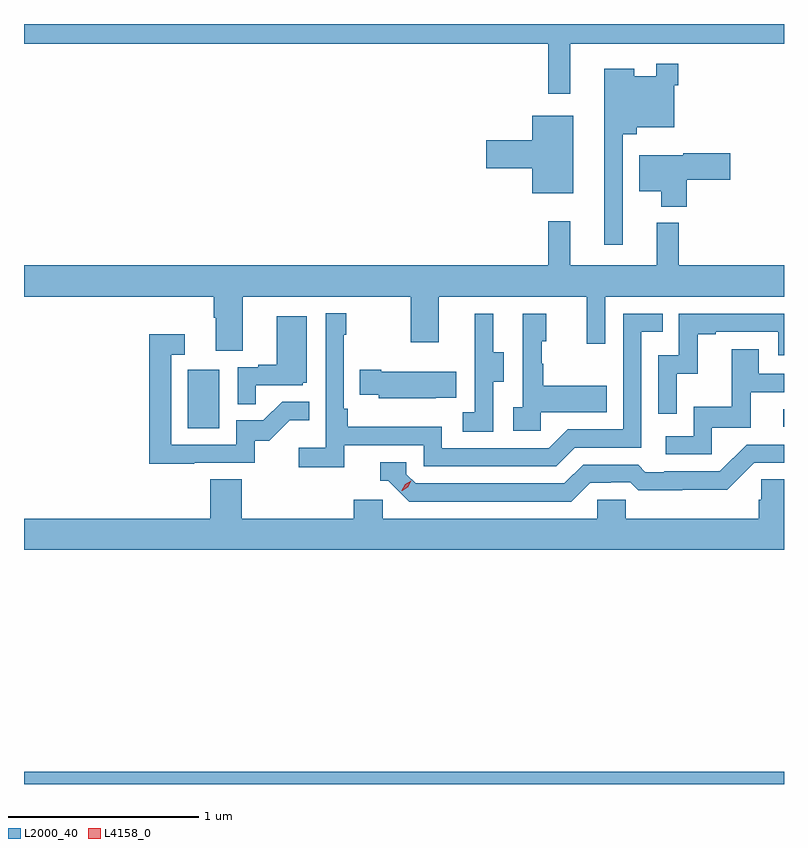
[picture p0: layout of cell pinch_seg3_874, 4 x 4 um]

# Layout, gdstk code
import gdstk
lib = gdstk.Library(unit=1e-6, precision=1e-09)
def R(c, l, rs):  # rectangles x0, y0, x1, y1
    for r in rs: c.add(gdstk.rectangle(r[:2], r[2:], *l))
def P(c, l, *ps):  # polygons
    for p in ps: c.add(gdstk.Polygon(p, *l))
L2000_40 = (2000, 40)
L4158_0 = (4158, 0)

pinch_seg3_874 = lib.new_cell('pinch_seg3_874')
R(pinch_seg3_874, L2000_40, [(874.635,705.011,878.635,705.076), (875.498,706.884,875.662,707.191), (878.631,706.89,878.635,706.983)])
P(pinch_seg3_874, L2000_40, [(877.51,708.908),(878.635,708.908),(878.635,709.011),(874.635,709.011),(874.635,708.908),(877.393,708.908),(877.393,708.645),(877.51,708.645)],
  [(877.785,708.431),(877.859,708.431),(877.859,708.467),(878.058,708.467),(878.058,708.689),(878.078,708.689),(878.078,708.802),(877.962,708.802),(877.962,708.736),(877.846,708.736),(877.846,708.775),(877.688,708.775),(877.688,707.85),(877.785,707.85)],
  [(877.525,708.529),(877.31,708.529),(877.31,708.398),(877.068,708.398),(877.068,708.251),(877.31,708.251),(877.31,708.119),(877.525,708.119)],
  [(878.123,708.19),(878.353,708.19),(878.353,708.332),(878.106,708.332),(878.106,708.319),(877.874,708.319),(877.874,708.131),(877.988,708.131),(877.988,708.05),(878.123,708.05)],
  [(875.785,707.576),(876.67,707.576),(876.67,707.337),(876.817,707.337),(876.817,707.576),(877.598,707.576),(877.598,707.328),(877.695,707.328),(877.695,707.576),(878.635,707.576),(878.635,707.74),(878.081,707.74),(878.081,707.965),(877.964,707.965),(877.964,707.74),(877.511,707.74),(877.511,707.974),(877.393,707.974),(877.393,707.74),(874.635,707.74),(874.635,707.576),(875.633,707.576),(875.633,707.464),(875.645,707.464),(875.645,707.29),(875.785,707.29)],
  [(876.32,706.794),(876.738,706.794),(876.738,706.683),(877.435,706.683),(877.534,706.782),(877.884,706.782),(877.884,707.391),(877.997,707.391),(877.997,707.487),(877.788,707.487),(877.788,706.878),(877.497,706.878),(877.398,706.779),(876.834,706.779),(876.834,706.891),(876.338,706.891),(876.338,706.987),(876.318,706.987),(876.318,707.375),(876.331,707.375),(876.331,707.488),(876.222,707.488),(876.222,706.78),(876.081,706.78),(876.081,706.678),(876.32,706.678)],
  [(878.07,707.171),(878.18,707.171),(878.18,707.379),(878.275,707.379),(878.275,707.391),(878.604,707.391),(878.604,707.268),(878.635,707.268),(878.635,707.487),(878.082,707.487),(878.082,707.268),(877.974,707.268),(877.974,706.959),(878.07,706.959)],
  [(877.356,706.967),(877.703,706.967),(877.703,707.107),(877.369,707.107),(877.369,707.222),(877.359,707.222),(877.359,707.34),(877.384,707.34),(877.384,707.485),(877.26,707.485),(877.26,706.994),(877.209,706.994),(877.209,706.869),(877.356,706.869)],
  [(877.104,707.128),(877.159,707.128),(877.159,707.283),(877.105,707.283),(877.105,707.485),(877.007,707.485),(877.007,707.271),(877.008,707.271),(877.008,706.967),(876.945,706.967),(876.945,706.864),(877.104,706.864)],
  [(875.855,707.109),(876.102,707.109),(876.102,707.124),(876.124,707.124),(876.124,707.473),(875.966,707.473),(875.966,707.218),(875.867,707.218),(875.867,707.205),(875.76,707.205),(875.76,707.011),(875.855,707.011)],
  [(875.531,706.701),(875.85,706.701),(875.85,706.818),(875.926,706.818),(876.033,706.925),(876.137,706.925),(876.137,707.024),(875.993,707.024),(875.895,706.926),(875.751,706.926),(875.751,706.797),(875.409,706.797),(875.409,707.271),(875.482,707.271),(875.482,707.377),(875.293,707.377),(875.293,706.696),(875.531,706.696)],
  [(878.256,706.887),(878.461,706.887),(878.461,707.073),(878.635,707.073),(878.635,707.169),(878.503,707.169),(878.503,707.299),(878.359,707.299),(878.359,706.996),(878.16,706.996),(878.16,706.842),(878.013,706.842),(878.013,706.746),(878.256,706.746)],
  [(876.803,707.045),(876.911,707.045),(876.911,707.182),(876.514,707.182),(876.514,707.19),(876.403,707.19),(876.403,707.06),(876.501,707.06),(876.501,707.042),(876.803,707.042)],
  [(877.615,706.596),(877.722,706.596),(877.722,706.599),(877.825,706.599),(877.867,706.557),(878.1,706.557),(878.1,706.559),(878.336,706.559),(878.478,706.701),(878.635,706.701),(878.635,706.797),(878.439,706.797),(878.298,706.656),(878.005,706.656),(878.005,706.653),(877.906,706.653),(877.867,706.692),(877.578,706.692),(877.479,706.593),(876.696,706.593),(876.648,706.641),(876.648,706.704),(876.509,706.704),(876.509,706.608),(876.552,706.608),(876.663,706.497),(877.516,706.497)],
  [(878.635,706.616),(878.515,706.616),(878.515,706.506),(878.501,706.506),(878.501,706.408),(877.803,706.408),(877.803,706.506),(877.653,706.506),(877.653,706.408),(876.522,706.408),(876.522,706.506),(876.371,706.506),(876.371,706.408),(875.78,706.408),(875.78,706.616),(875.615,706.616),(875.615,706.408),(874.635,706.408),(874.635,706.244),(878.635,706.244)])
P(pinch_seg3_874, L4158_0, [(876.624,706.555),(876.624,706.556),(876.641,706.588),(876.672,706.607),(876.672,706.607),(876.672,706.607),(876.656,706.574),(876.625,706.555)])

lib.write_gds('pinch_seg3_874.gds')
